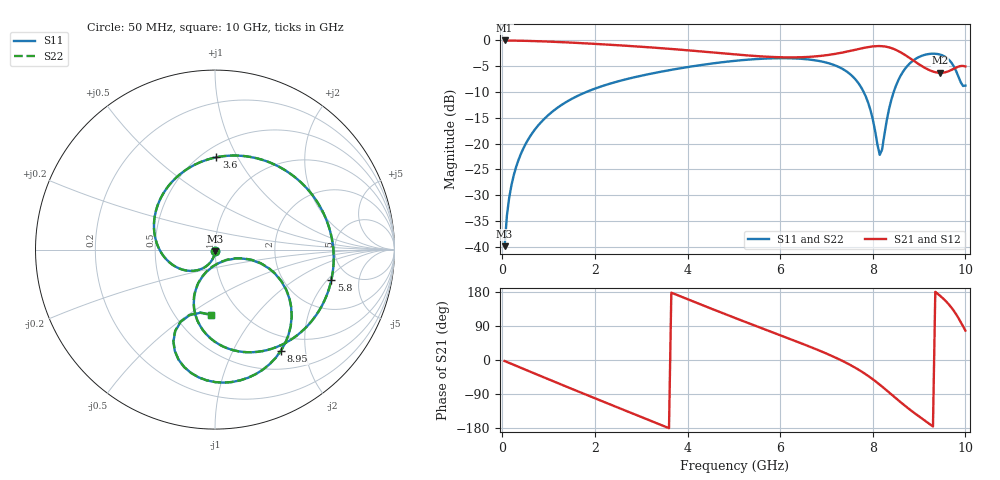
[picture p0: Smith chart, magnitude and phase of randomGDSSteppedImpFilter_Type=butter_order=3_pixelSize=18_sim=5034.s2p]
! freq	dB(S11)	phase(S11)	dB(S12)	phase(S12)
!  dB(S21)	phase(S21)	dB(S22)	phase(S22)
!S-par simulation data
#  GHz  S  DB  R 50
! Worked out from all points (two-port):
!   200 points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, 50 MHz to 10 GHz, reference 50 ohm
!   highest |S21| = 0.00 dB at 50 MHz (marker M1); lowest = -6.3 dB at 9.45 GHz (marker M2)
!   |S21| within 3 dB of the highest: start of sweep to 5.441 GHz; 6.869 GHz to 8.729 GHz (1.861 GHz wide, 23.9 % of centre)
!   lowest |S11| = -39.9 dB at 50 MHz (marker M3), VSWR 1.02, Z = 50 - j1.01 ohm
!   |S11| at or under -10 dB: start of sweep to 1.813 GHz; 7.804 GHz to 8.451 GHz (647.5 MHz wide, 7.97 % of centre)
!   |S22| runs from -39.9 to -2.6 dB; largest |S21 - S12| = 0
!   S11 on the Smith chart (normalised r, x): 50 MHz: 1.00, -0.02; 3.6 GHz: 0.59, +0.82; 5.8 GHz: 3.60, -2.23; 8.95 GHz: 0.76, -1.57; 10 GHz: 0.74, -0.62
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0.05  -39.89 -91.9  -0.00 -2.6  -0.00 -2.6  -39.89 -91.9
0.2  -27.97 -100.3  -0.02 -10.3  -0.02 -10.3  -27.97 -100.3
0.5  -20.14 -116.1  -0.08 -25.6  -0.08 -25.6  -20.14 -116.1
1.15  -13.32 -149.3  -0.28 -58.6  -0.28 -58.6  -13.32 -149.3
1.75  -10.24 -179.5  -0.54 -88.6  -0.54 -88.6  -10.24 -179.3
2.65  -7.58 135.9  -1.02 -133.1  -1.02 -133.1  -7.58 136.1
3.4  -6.11 99.0  -1.48 -170.1  -1.48 -170.1  -6.11 99.1
3.6  -5.78 89.2  -1.62 -179.9  -1.62 -179.9  -5.78 89.3
4.4  -4.63 50.3  -2.22 141.0  -2.22 141.0  -4.63 50.5
5.05  -3.93 19.6  -2.73 109.8  -2.73 109.8  -3.93 19.7
5.8  -3.48 -14.7  -3.19 74.6  -3.19 74.6  -3.48 -14.7
6.7  -3.78 -55.5  -3.14 32.2  -3.14 32.2  -3.78 -55.5
7.25  -5.08 -82.3  -2.51 3.2  -2.51 3.2  -5.08 -82.4
7.7  -8.41 -106.6  -1.65 -26.1  -1.65 -26.1  -8.42 -106.8
7.95  -13.50 -116.3  -1.22 -46.3  -1.22 -46.3  -13.53 -116.7
8.15  -22.19 -73.4  -1.10 -64.9  -1.10 -64.9  -22.39 -73.6
8.35  -13.35 -16.0  -1.34 -85.3  -1.34 -85.3  -13.38 -15.5
8.65  -6.10 -33.3  -2.55 -116.3  -2.55 -116.3  -6.11 -33.1
8.95  -3.44 -57.0  -4.34 -144.6  -4.34 -144.6  -3.44 -57.0
9.45  -2.73 -93.6  -6.28 169.9  -6.28 169.9  -2.73 -93.6
9.75  -5.03 -114.4  -5.49 129.8  -5.49 129.8  -5.04 -114.5
10  -8.75 -93.4  -5.04 77.6  -5.04 77.6  -8.80 -93.4
